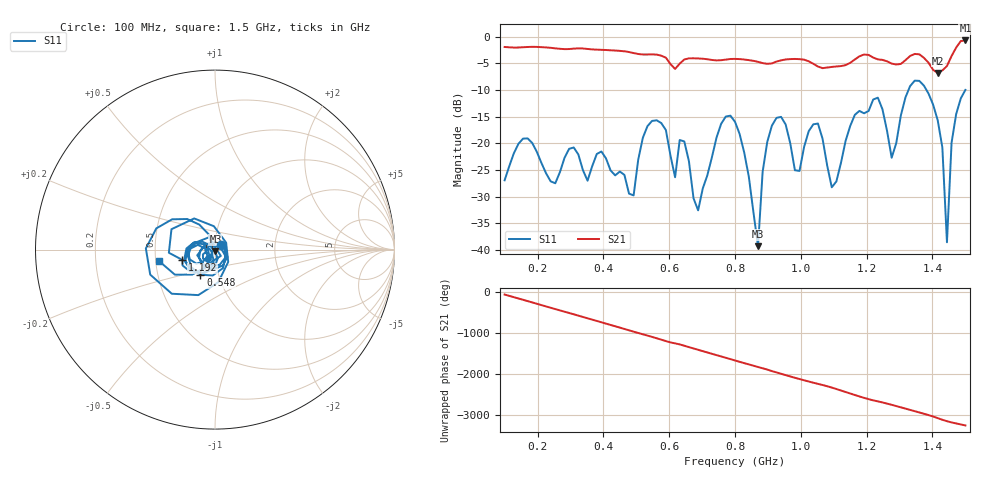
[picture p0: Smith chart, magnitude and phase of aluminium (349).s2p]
! NanoVNA-App
! Date: 2025-09-25 14:58:00
! Start: 100MHz Stop: 1,5GHz Points: 101
! S-Parameter data: F S11 S21 S12 S22
# Hz S RI R 50
!  Frequency  S11_Real  S11_Imag  S21_Real  S21_Imag  S12_Real  S12_Imag  S22_Real  S22_Imag
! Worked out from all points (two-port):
!   101 points, 100 MHz to 1.5 GHz, reference 50 ohm
!   highest |S21| = -0.70 dB at 1.5 GHz (marker M1); lowest = -6.8 dB at 1.416 GHz (marker M2)
!   |S21| within 3 dB of the highest: start of sweep to 581.2 MHz; 1.457 GHz to end of sweep (the widest 2 of 4)
!   lowest |S11| = -39.3 dB at 870 MHz (marker M3), VSWR 1.02, Z = 50.2 - j1.06 ohm
!   |S11| at or under -10 dB: start of sweep to 1.327 GHz; 1.382 GHz to 1.5 GHz (118.2 MHz wide, 8.2 % of centre)
!   S12 and S22 are empty: the file has one direction only
!   S11 on the Smith chart (normalised r, x): 100 MHz: 1.07, +0.06; 548 MHz: 0.82, -0.24; 1.192 GHz: 0.69, -0.08; 1.5 GHz: 0.52, -0.08
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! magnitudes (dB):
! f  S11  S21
! 100 MHz  -27.0  -1.9
! 156 MHz  -19.1  -2.0
! 338 MHz  -25.1  -2.2
! 492 MHz  -29.8  -3.1
! 548 MHz  -15.8  -3.3
! 576 MHz  -16.2  -3.6
! 646 MHz  -19.7  -4.3
! 688 MHz  -32.6  -4.1
! 800 MHz  -16.0  -4.2
! 870 MHz  -39.3  -4.7
! 912 MHz  -16.7  -5.0
! 996 MHz  -25.2  -4.2
! 1.038 GHz  -16.4  -5.1
! 1.094 GHz  -28.3  -5.7
! 1.192 GHz  -14.4  -3.3
! 1.234 GHz  -11.4  -4.3
! 1.276 GHz  -22.7  -5.0
! 1.346 GHz  -8.2  -3.2
! 1.416 GHz  -15.7  -6.8
! 1.444 GHz  -38.6  -5.5
! 1.458 GHz  -19.9  -3.6
! 1.5 GHz  -10.0  -0.7
